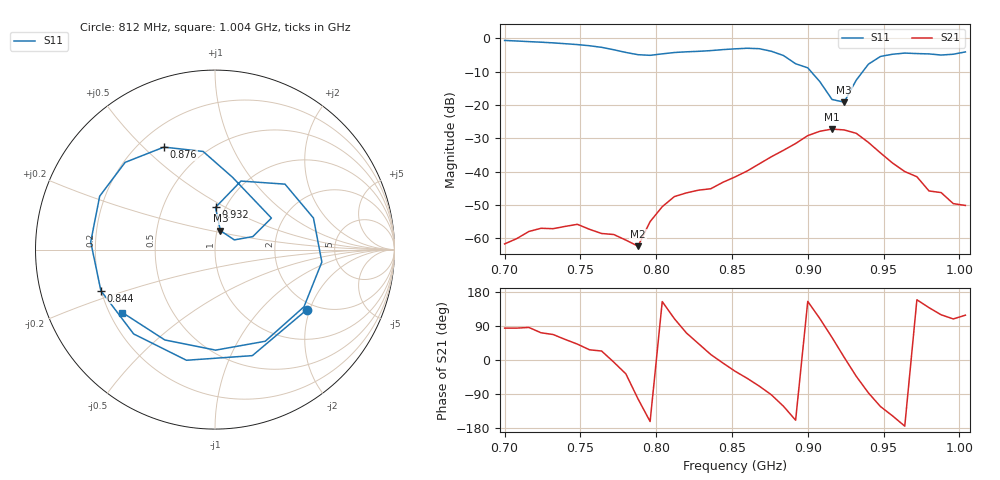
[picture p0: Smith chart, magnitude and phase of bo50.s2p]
# Hz S RI R 50
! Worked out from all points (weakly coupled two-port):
!   39 points, 700 MHz to 1.004 GHz, reference 50 ohm
!   highest |S21| = -27.25 dB at 916 MHz (marker M1); lowest = -62.4 dB at 788 MHz (marker M2)
!   lowest |S11| = -19.2 dB at 924 MHz (marker M3), VSWR 1.25, Z = 51.9 + j11.1 ohm
!   |S11| at or under -10 dB: 902.2 MHz to 936.3 MHz (34.12 MHz wide, 3.71 % of centre)
!   S12 and S22 are empty: the file has one direction only
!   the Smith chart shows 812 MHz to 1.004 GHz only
!   S11 on the Smith chart (normalised r, x): 812 MHz: 1.78, -1.91; 844 MHz: 0.20, -0.17; 876 MHz: 0.30, +0.58; 932 MHz: 0.90, +0.45; 1.004 GHz: 0.25, -0.29
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7e8  0.7607 0.5299  8.51e-05 0.000817  0 0  0 0
7.24e8  0.8326 -0.2636  0.000438 0.00134  0 0  0 0
7.4e8  0.4404 -0.7016  0.00088 0.00122  0 0  0 0
7.56e8  -0.1998 -0.746  0.00121 0.000617  0 0  0 0
7.72e8  -0.6487 -0.1774  0.00113 -0.00011  0 0  0 0
7.88e8  -0.1944 0.5325  -0.000165 -0.000742  0 0  0 0
7.96e8  0.2885 0.4738  -0.00169 -0.000539  0 0  0 0
8.04e8  0.5744 0.1012  -0.00267 0.0013  0 0  0 0
8.12e8  0.5113 -0.3352  -0.00137 0.00399  0 0  0 0
8.28e8  -0.159 -0.6166  0.00386 0.00358  0 0  0 0
8.44e8  -0.6358 -0.2289  0.00684 -0.00095  0 0  0 0
8.52e8  -0.6924 0.0429  0.00722 -0.00409  0 0  0 0
8.76e8  -0.2845 0.5712  -0.000539 -0.0167  0 0  0 0
9e8  0.3143 0.1758  -0.0313 0.0148  0 0  0 0
9.08e8  0.2109 0.0725  -0.0132 0.038  0 0  0 0
9.16e8  0.108 0.0541  0.022 0.0374  0 0  0 0
9.24e8  0.0298 0.1059  0.0418 0.00534  0 0  0 0
9.32e8  0.00283 0.2354  0.0274 -0.0256  0 0  0 0
9.48e8  0.3901 0.3647  -0.0103 -0.016  0 0  0 0
9.56e8  0.5485 0.1759  -0.0113 -0.00716  0 0  0 0
9.8e8  0.28 -0.5106  -0.00381 0.00342  0 0  0 0
1.004e9  -0.5163 -0.3505  -0.00147 0.00273  0 0  0 0
